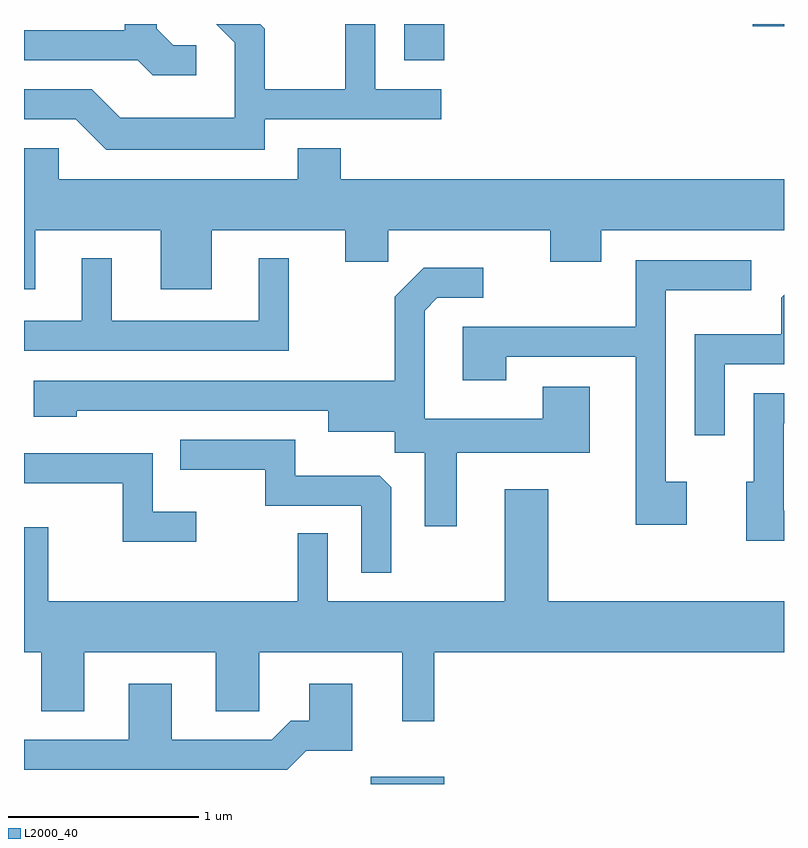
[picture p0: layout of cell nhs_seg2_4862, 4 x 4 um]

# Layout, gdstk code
import gdstk
lib = gdstk.Library(unit=1e-6, precision=1e-09)
def R(c, l, rs):  # rectangles x0, y0, x1, y1
    for r in rs: c.add(gdstk.rectangle(r[:2], r[2:], *l))
def P(c, l, *ps):  # polygons
    for p in ps: c.add(gdstk.Polygon(p, *l))
L2000_40 = (2000, 40)

nhs_seg2_4862 = lib.new_cell('nhs_seg2_4862')
R(nhs_seg2_4862, L2000_40, [(329.436,1089.802,329.824,1089.839), (329.611,1093.611,329.824,1093.802), (331.446,1093.791,331.611,1093.802)])
P(nhs_seg2_4862, L2000_40, [(328.879,1093.301),(329.808,1093.301),(329.808,1093.459),(329.459,1093.459),(329.459,1093.802),(329.301,1093.802),(329.301,1093.459),(328.879,1093.459),(328.879,1093.777),(328.854,1093.802),(328.623,1093.802),(328.721,1093.704),(328.721,1093.309),(328.117,1093.309),(327.967,1093.459),(327.611,1093.459),(327.611,1093.301),(327.884,1093.301),(328.044,1093.141),(328.879,1093.141)],
  [(328.518,1093.689),(328.397,1093.689),(328.309,1093.777),(328.309,1093.802),(328.141,1093.802),(328.141,1093.769),(327.611,1093.769),(327.611,1093.611),(328.209,1093.611),(328.289,1093.531),(328.518,1093.531)],
  [(327.669,1092.716),(328.331,1092.716),(328.331,1092.406),(328.599,1092.406),(328.599,1092.716),(329.301,1092.716),(329.301,1092.551),(329.529,1092.551),(329.529,1092.716),(330.381,1092.716),(330.381,1092.551),(330.649,1092.551),(330.649,1092.716),(331.611,1092.716),(331.611,1092.984),(329.279,1092.984),(329.279,1093.149),(329.051,1093.149),(329.051,1092.984),(327.794,1092.984),(327.794,1093.149),(327.611,1093.149),(327.611,1092.406),(327.669,1092.406)],
  [(329.004,1092.568),(328.846,1092.568),(328.846,1092.239),(328.074,1092.239),(328.074,1092.568),(327.916,1092.568),(327.916,1092.239),(327.611,1092.239),(327.611,1092.081),(329.004,1092.081)],
  [(331.099,1091.394),(330.989,1091.394),(330.989,1092.401),(331.438,1092.401),(331.438,1092.559),(330.831,1092.559),(330.831,1092.209),(329.921,1092.209),(329.921,1091.926),(330.149,1091.926),(330.149,1092.051),(330.831,1092.051),(330.831,1091.166),(331.099,1091.166)],
  [(329.889,1091.546),(330.589,1091.546),(330.589,1091.894),(330.341,1091.894),(330.341,1091.724),(329.719,1091.724),(329.719,1092.294),(329.787,1092.361),(330.028,1092.361),(330.028,1092.519),(329.714,1092.519),(329.561,1092.367),(329.561,1091.924),(327.661,1091.924),(327.661,1091.736),(327.889,1091.736),(327.889,1091.766),(329.211,1091.766),(329.211,1091.656),(329.561,1091.656),(329.561,1091.546),(329.721,1091.546),(329.721,1091.158),(329.889,1091.158)],
  [(331.299,1092.011),(331.611,1092.011),(331.611,1092.377),(331.596,1092.362),(331.596,1092.169),(331.141,1092.169),(331.141,1091.638),(331.299,1091.638)],
  [(331.611,1091.239),(331.609,1091.239),(331.609,1091.701),(331.611,1091.701),(331.611,1091.859),(331.451,1091.859),(331.451,1091.394),(331.411,1091.394),(331.411,1091.081),(331.611,1091.081)],
  [(329.544,1091.364),(329.484,1091.424),(329.039,1091.424),(329.039,1091.614),(328.433,1091.614),(328.433,1091.456),(328.881,1091.456),(328.881,1091.266),(329.386,1091.266),(329.386,1090.913),(329.544,1090.913)],
  [(328.518,1091.234),(328.289,1091.234),(328.289,1091.544),(327.611,1091.544),(327.611,1091.386),(328.131,1091.386),(328.131,1091.076),(328.518,1091.076)],
  [(329.769,1090.496),(331.611,1090.496),(331.611,1090.764),(330.369,1090.764),(330.369,1091.354),(330.141,1091.354),(330.141,1090.764),(329.209,1090.764),(329.209,1091.123),(329.051,1091.123),(329.051,1090.764),(327.739,1090.764),(327.739,1091.154),(327.611,1091.154),(327.611,1090.496),(327.701,1090.496),(327.701,1090.186),(327.929,1090.186),(327.929,1090.496),(328.621,1090.496),(328.621,1090.186),(328.849,1090.186),(328.849,1090.496),(329.601,1090.496),(329.601,1090.133),(329.769,1090.133)],
  [(329.097,1089.976),(329.339,1089.976),(329.339,1090.329),(329.111,1090.329),(329.111,1090.134),(329.014,1090.134),(328.914,1090.034),(328.389,1090.034),(328.389,1090.329),(328.161,1090.329),(328.161,1090.034),(327.611,1090.034),(327.611,1089.876),(328.997,1089.876)])

lib.write_gds('nhs_seg2_4862.gds')
